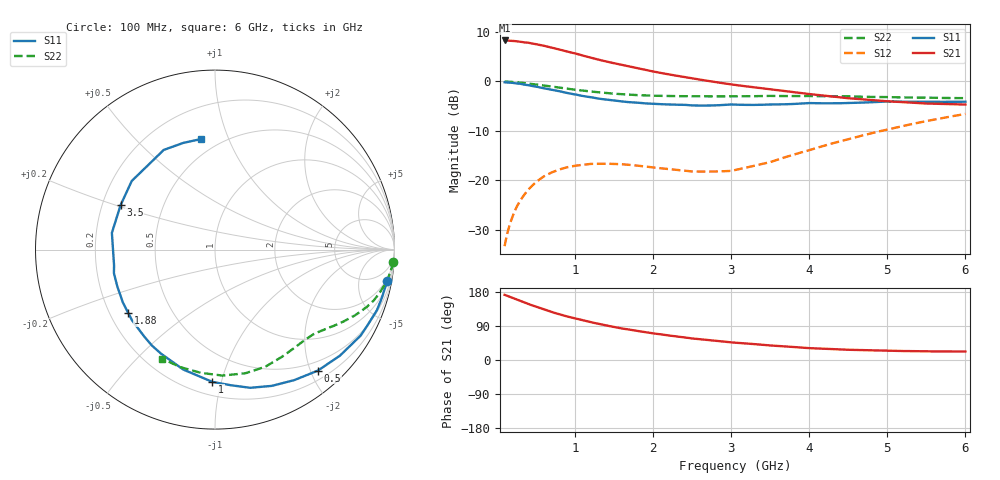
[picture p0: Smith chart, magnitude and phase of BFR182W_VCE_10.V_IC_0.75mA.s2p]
! Infineon Technologies  Discrete & RF Semiconductors
! BFR182W
! VCE =  10. V,  IC = 0.75 mA
! Common Emitter S-Parameters:  Nov 2015
# GHz  S  MA  R  50
!  f  S11  S21  S12  S22
! GHz  MAG  ANG  MAG  ANG  MAG  ANG  MAG  ANG
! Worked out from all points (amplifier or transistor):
!   192 points, 100 MHz to 6 GHz, reference 50 ohm
!   highest |S21| = 8.2 dB at 100 MHz (marker M1)
!   |S21| within 3 dB of that: start of sweep to 1.088 GHz
!   unconditionally stable (mu >= 1): 2.309 GHz to 3.415 GHz
!   at 440 MHz: K = 0.18, MSG = 14.5 dB, |S12| = -21.3 dB
!   at 1.7 GHz: K = 0.73, MSG = 9.9 dB, |S12| = -16.9 dB
!   at 6 GHz: K = 0.83, MSG = 0.9 dB, |S12| = -6.6 dB
!   S11 on the Smith chart (normalised r, x): 100 MHz: 2, -11; 500 MHz: 0.34, -2.12; 1 GHz: 0.29, -0.94; 1.88 GHz: 0.28, -0.31; 3.5 GHz: 0.28, +0.21; 6 GHz: 0.40, +0.80
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0.1  0.9752 -10.3  2.582 172.0  0.0215 82.9  0.9919 -3.9
0.165  0.9664 -17.1  2.565 166.6  0.0354 79.2  0.9878 -6.3
0.26  0.9482 -26.6  2.53 159.1  0.0547 73.7  0.9749 -9.9
0.4  0.9132 -40.3  2.451 147.9  0.0797 65.9  0.9489 -14.6
0.5  0.8849 -49.6  2.372 140.7  0.0952 60.3  0.9287 -17.8
0.6  0.8509 -58.7  2.286 133.6  0.1088 55.7  0.9057 -20.5
0.7  0.8225 -67.4  2.19 126.7  0.1193 51.2  0.8834 -22.9
0.8  0.7946 -75.7  2.097 120.6  0.128 47.3  0.8603 -25.3
1  0.7373 -91.1  1.914 109.6  0.1398 40.5  0.8207 -29.2
1.1  0.7092 -97.7  1.817 104.9  0.1427 37.7  0.8036 -30.9
1.2  0.6913 -104.8  1.733 99.8  0.1459 35.1  0.7873 -32.6
1.46  0.6444 -120.9  1.545 88.8  0.1461 30.4  0.7527 -36.4
1.6  0.6247 -129.1  1.462 83.3  0.1449 28.9  0.7394 -38.2
1.88  0.5989 -143.7  1.313 74.2  0.1379 28.0  0.7192 -41.8
2.08  0.5867 -153.4  1.221 68.2  0.1323 28.9  0.711 -44.6
2.5  0.5692 -171.1  1.069 56.9  0.1224 35.4  0.7044 -50.2
3.1  0.5783 167.6  0.906 45.0  0.1289 53.9  0.7041 -59.7
3.5  0.5814 154.8  0.827 38.4  0.1521 64.9  0.7103 -66.7
4.1  0.5987 137.9  0.728 30.5  0.2123 71.5  0.7063 -78.3
4.5  0.6019 127.4  0.673 27.0  0.2588 71.8  0.7031 -86.6
5.1  0.6219 115.1  0.621 24.0  0.3386 68.5  0.6879 -98.5
6  0.6208 97.1  0.581 22.4  0.467 59.8  0.6751 -115.9
